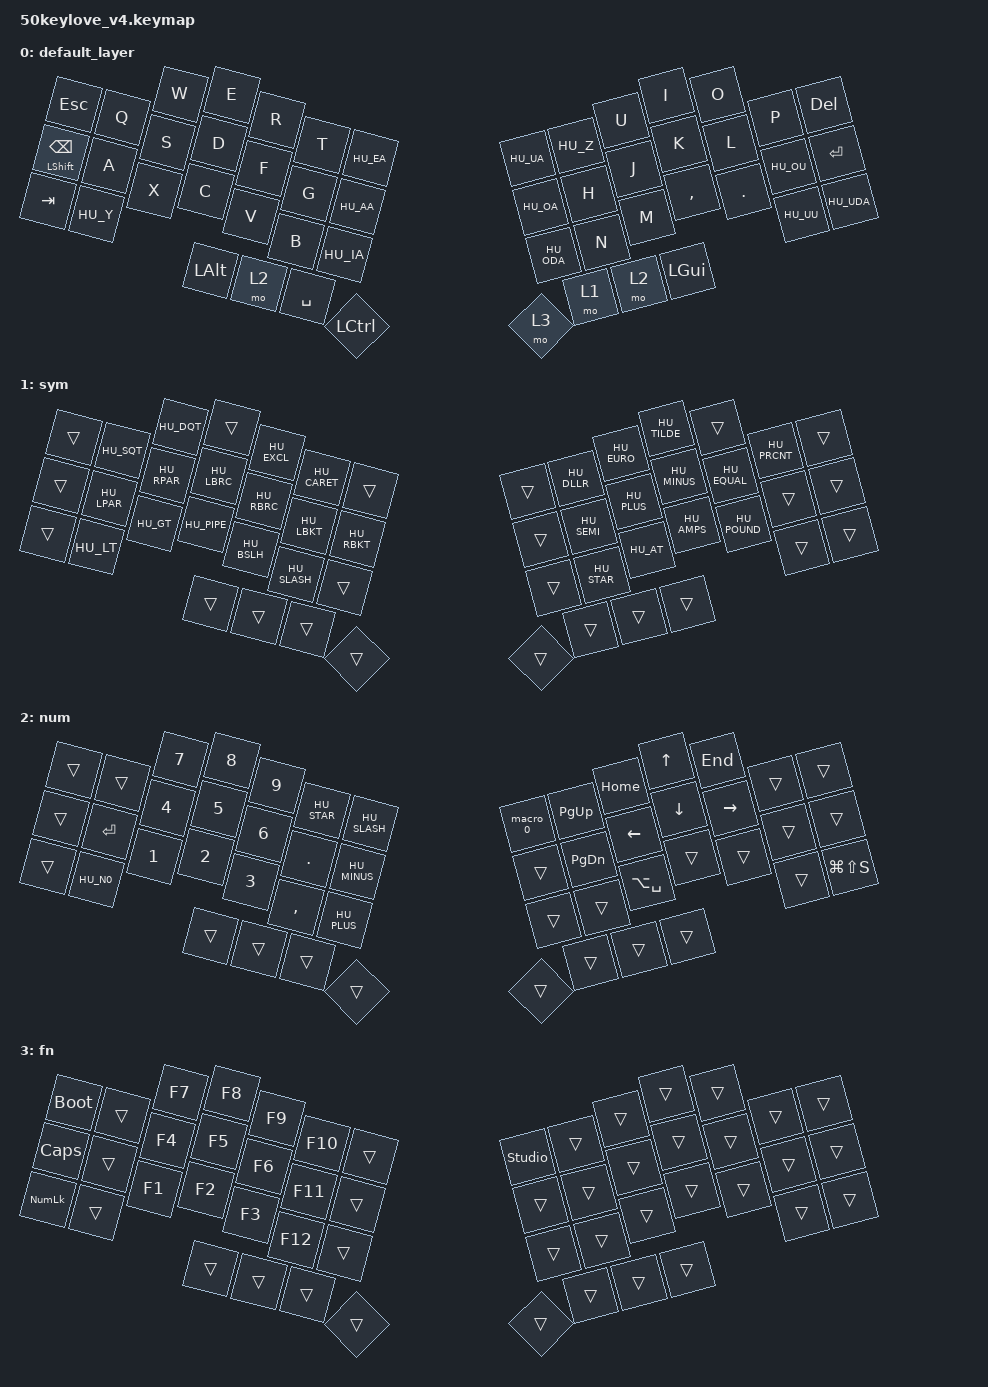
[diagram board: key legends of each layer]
#include <behaviors.dtsi>
#include <dt-bindings/zmk/keys.h>
#include <dt-bindings/zmk/outputs.h>
#include "keys_hu.h"

&mt {
    quick-tap-ms = <250>;
};

/ {
    macros {
        macro_0: macro_0 {
            compatible = "zmk,behavior-macro";
            #binding-cells = <0>;
            bindings
                = <&macro_press &kp LCTRL>
                , <&macro_press &kp LSHIFT>
                , <&macro_press &kp N5>
                , <&macro_tap &kp F8>
                , <&macro_release &kp N5>
                , <&macro_release &kp LSHIFT>
                , <&macro_release &kp LCTRL>
                ;
        };
    };

    combos {
        compatible = "zmk,combos";
        combo_bootloader {
            timeout-ms = <50>;
            key-positions = <6 7>;
            bindings = <&bootloader>;
        };

        // combo_lshift {
        //     timeout-ms = <150>;
        //     key-positions = <17 18>;
        //     bindings = <&kp LSHIFT>;
        // };

        // combo_rshift {
        //     timeout-ms = <150>;
        //     key-positions = <23 24>;
        //     bindings = <&kp RSHIFT>;
        // };
    };

    keymap {
        compatible = "zmk,keymap";

        default_layer { // Layer 0
            bindings = <
                &kp ESC         &kp Q     &kp W  &kp E     &kp R  &kp T      &kp HU_EA    &kp HU_UA   &kp HU_Z  &kp U  &kp I      &kp O    &kp P      &kp DEL
                &mt LSHFT BSPC  &kp A     &kp S  &kp D     &kp F  &kp G      &kp HU_AA    &kp HU_OA   &kp H     &kp J  &kp K      &kp L    &kp HU_OU  &kp ENTER
                &kp TAB         &kp HU_Y  &kp X  &kp C     &kp V  &kp B      &kp HU_IA    &kp HU_ODA  &kp N     &kp M  &kp COMMA  &kp DOT  &kp HU_UU  &kp HU_UDA
                                                 &kp LALT  &mo 2  &kp SPACE  &kp LCTRL    &mo 3       &mo 1     &mo 2  &kp LGUI
            >;
        };

        sym {
            bindings = <
                &trans  &kp HU_SQT   &kp HU_DQT   &trans       &kp HU_EXCL  &kp HU_CARET  &trans         &trans  &kp HU_DLLR  &kp HU_EURO  &kp HU_TILDE  &trans        &kp HU_PRCNT  &trans
                &trans  &kp HU_LPAR  &kp HU_RPAR  &kp HU_LBRC  &kp HU_RBRC  &kp HU_LBKT   &kp HU_RBKT    &trans  &kp HU_SEMI  &kp HU_PLUS  &kp HU_MINUS  &kp HU_EQUAL  &trans        &trans
                &trans  &kp HU_LT    &kp HU_GT    &kp HU_PIPE  &kp HU_BSLH  &kp HU_SLASH  &trans         &trans  &kp HU_STAR  &kp HU_AT    &kp HU_AMPS   &kp HU_POUND  &trans        &trans
                                                  &trans       &trans       &trans        &trans         &trans  &trans       &trans       &trans
            >;
        };

        num {
            bindings = <
                &trans  &trans     &kp N7  &kp N8  &kp N9  &kp HU_STAR  &kp HU_SLASH    &macro_0  &kp PG_UP  &kp HOME       &kp UP    &kp END    &trans  &trans
                &trans  &kp ENTER  &kp N4  &kp N5  &kp N6  &kp DOT      &kp HU_MINUS    &trans    &kp PG_DN  &kp LEFT       &kp DOWN  &kp RIGHT  &trans  &trans
                &trans  &kp HU_N0  &kp N1  &kp N2  &kp N3  &kp COMMA    &kp HU_PLUS     &trans    &trans     &kp LA(SPACE)  &trans    &trans     &trans  &kp LG(LS(S))
                                           &trans  &trans  &trans       &trans          &trans    &trans     &trans         &trans
            >;
        };
        fn {
            bindings = <
                &bootloader  &trans  &kp F7  &kp F8  &kp F9  &kp F10  &trans    &studio_unlock  &trans  &trans  &trans  &trans  &trans  &trans
                &kp CAPS     &trans  &kp F4  &kp F5  &kp F6  &kp F11  &trans    &trans          &trans  &trans  &trans  &trans  &trans  &trans
                &kp KP_NUM   &trans  &kp F1  &kp F2  &kp F3  &kp F12  &trans    &trans          &trans  &trans  &trans  &trans  &trans  &trans
                                             &trans  &trans  &trans   &trans    &trans          &trans  &trans  &trans
            >;
        };
    };
};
